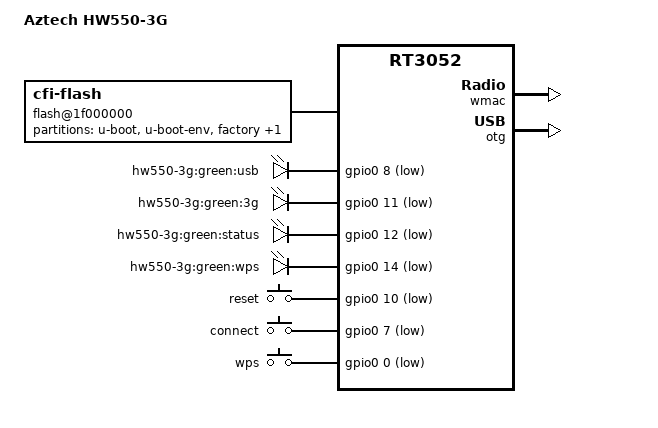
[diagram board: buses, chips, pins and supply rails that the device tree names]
/dts-v1/;

#include "rt3050.dtsi"

#include <dt-bindings/gpio/gpio.h>
#include <dt-bindings/input/input.h>

/ {
	compatible = "aztech,hw550-3g", "ralink,rt3052-soc";
	model = "Aztech HW550-3G";

	aliases {
		led-boot = &led_status;
		led-failsafe = &led_status;
		led-running = &led_status;
		led-upgrade = &led_status;
	};

	flash@1f000000 {
		compatible = "cfi-flash";
		reg = <0x1f000000 0x800000>;
		bank-width = <2>;
		device-width = <2>;

		partitions {
			compatible = "fixed-partitions";
			#address-cells = <1>;
			#size-cells = <1>;

			partition@0 {
				label = "u-boot";
				reg = <0x0 0x30000>;
				read-only;
			};

			partition@30000 {
				label = "u-boot-env";
				reg = <0x30000 0x10000>;
				read-only;
			};

			factory: partition@40000 {
				label = "factory";
				reg = <0x40000 0x10000>;
				read-only;
			};

			partition@50000 {
				compatible = "denx,uimage";
				label = "firmware";
				reg = <0x50000 0x7b0000>;
			};
		};
	};

	leds {
		compatible = "gpio-leds";

		usb {
			label = "hw550-3g:green:usb";
			gpios = <&gpio0 8 GPIO_ACTIVE_LOW>;
			trigger-sources = <&otg_port1>;
			linux,default-trigger = "usbport";
		};

		3g {
			label = "hw550-3g:green:3g";
			gpios = <&gpio0 11 GPIO_ACTIVE_LOW>;
		};

		led_status: status {
			label = "hw550-3g:green:status";
			gpios = <&gpio0 12 GPIO_ACTIVE_LOW>;
		};

		wps {
			label = "hw550-3g:green:wps";
			gpios = <&gpio0 14 GPIO_ACTIVE_LOW>;
		};
	};

	keys {
		compatible = "gpio-keys-polled";
		poll-interval = <20>;

		reset {
			label = "reset";
			gpios = <&gpio0 10 GPIO_ACTIVE_LOW>;
			linux,code = <KEY_RESTART>;
		};

		connect {
			label = "connect";
			gpios = <&gpio0 7 GPIO_ACTIVE_LOW>;
			linux,code = <KEY_CONNECT>;
		};

		wps {
			label = "wps";
			gpios = <&gpio0 0 GPIO_ACTIVE_LOW>;
			linux,code = <KEY_WPS_BUTTON>;
		};
	};
};

&state_default {
	gpio {
		groups = "spi", "i2c", "jtag", "rgmii", "mdio", "uartf";
		function = "gpio";
	};
};

&ethernet {
	mtd-mac-address = <&factory 0x28>;
};

&esw {
	mediatek,portmap = <0x3e>;
};

&wmac {
	ralink,mtd-eeprom = <&factory 0x0>;
};

&otg {
	status = "okay";
};
